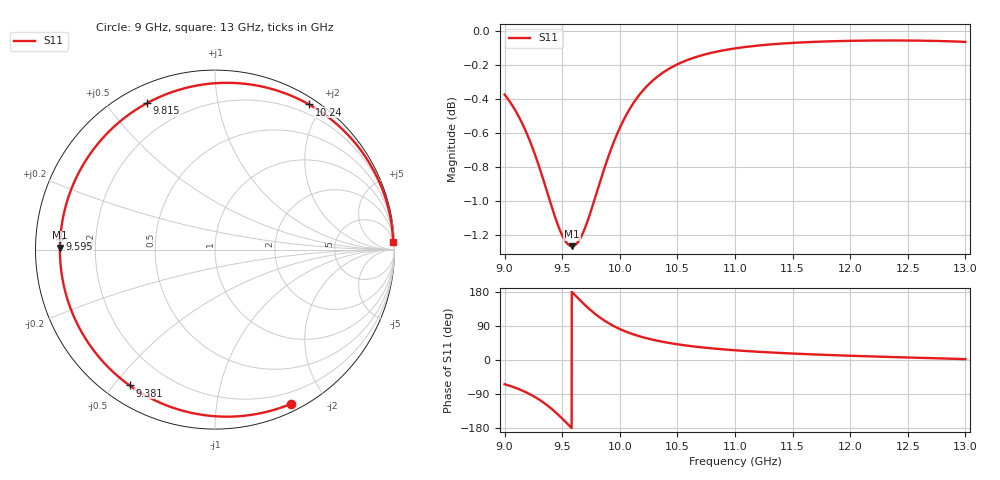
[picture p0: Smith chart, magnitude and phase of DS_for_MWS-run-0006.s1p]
! TOUCHSTONE file generated by CST DESIGN STUDIO
! Date and time: Tue Feb  4 17:25:13 2025
! Project name: C:\Work\MatlabApps\UnitCellOptimizationMatlab\CST\unitcell.cst
! Tree item: Tasks\Sweep1\SPara1\S-Parameters
! Header version: 2024
! Port assignment regex: !\s*Touchstone port\s*([0-9]+)\s*=\s*(CST MWS port|CST DES external port|CST DES block port)\s*(.+)\s* \(\"(.*)\"\)(\s*mode\s*([0-9]+))?.*
! Touchstone port assignment:
! Touchstone port 1 = CST DES external port 1 ("")
# GHz S MA R 50
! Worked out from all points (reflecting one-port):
!   4001 points, 9 GHz to 13 GHz, reference 50 ohm
!   lowest |S11| = -1.3 dB at 9.585 GHz (marker M1), VSWR 13.72, Z = 3.64 + j0.289 ohm
!   phase of S11 starts at -64 deg and turns -294 deg over the sweep
!   S11 on the Smith chart (normalised r, x): 9 GHz: 0.08, -1.60; 9.381 GHz: 0.07, -0.55; 9.595 GHz: 0.07, +0.03; 9.815 GHz: 0.07, +0.64; 10.24 GHz: 0.08, +1.84; 13 GHz: 8, +47
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9  0.9579 -63.8
9.045  0.9533 -68.1
9.113  0.945 -75.6
9.23  0.9262 -92.0
9.31  0.9099 -106.5
9.381  0.8939 -122.2
9.44  0.8811 -137.3
9.5  0.8705 -154.4
9.543  0.8658 -167.5
9.585  0.8642 179.3
9.595  0.8642 176.2
9.65  0.8679 159.1
9.712  0.8775 141.0
9.763  0.888 127.3
9.815  0.8997 114.9
9.856  0.9089 106.1
9.899  0.9181 97.8
10  0.9365 81.7
10.112  0.9517 68.3
10.237  0.9636 57.1
10.359  0.9715 48.8
10.5  0.9778 41.5
10.721  0.9841 33.1
11  0.9885 25.7
11.5  0.9922 17.0
12  0.9936 11.2
12.5  0.9938 6.6
13  0.9929 2.3
